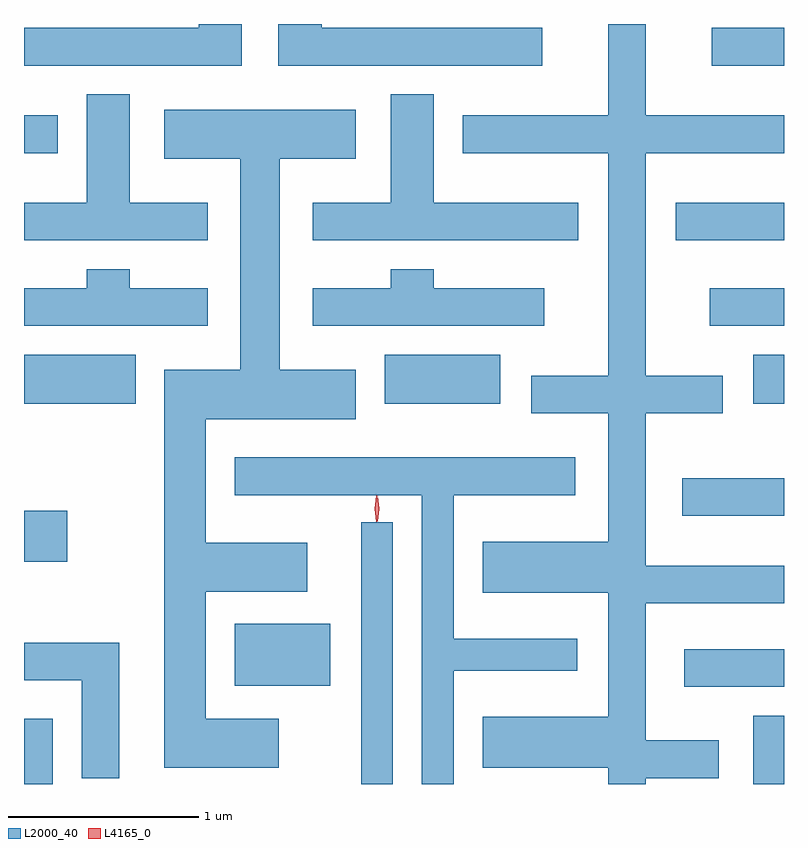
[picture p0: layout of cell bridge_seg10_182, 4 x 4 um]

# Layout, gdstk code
import gdstk
lib = gdstk.Library(unit=1e-6, precision=1e-09)
def R(c, l, rs):  # rectangles x0, y0, x1, y1
    for r in rs: c.add(gdstk.rectangle(r[:2], r[2:], *l))
def P(c, l, *ps):  # polygons
    for p in ps: c.add(gdstk.Polygon(p, *l))
L2000_40 = (2000, 40)
L4165_0 = (4165, 0)

bridge_seg10_182 = lib.new_cell('bridge_seg10_182')
R(bridge_seg10_182, L2000_40, [(1901.097,2140.795,1901.249,2141.139), (1902.871,2140.795,1903.039,2142.173), (1904.936,2140.795,1905.097,2141.154), (1904.571,2141.306,1905.097,2141.504), (1902.206,2141.311,1902.709,2141.639), (1901.097,2141.966,1901.324,2142.234), (1904.561,2142.206,1905.097,2142.404), (1901.097,2142.796,1901.684,2143.054), (1902.996,2142.796,1903.604,2143.054), (1904.936,2142.796,1905.097,2143.054), (1904.706,2143.206,1905.097,2143.404), (1904.526,2143.656,1905.097,2143.854), (1901.097,2144.116,1901.274,2144.314), (1904.716,2144.576,1905.097,2144.774)])
P(bridge_seg10_182, L2000_40, [(1904.369,2140.826),(1904.754,2140.826),(1904.754,2141.024),(1904.369,2141.024),(1904.369,2141.746),(1905.097,2141.746),(1905.097,2141.944),(1904.369,2141.944),(1904.369,2142.746),(1904.774,2142.746),(1904.774,2142.944),(1904.369,2142.944),(1904.369,2144.116),(1905.097,2144.116),(1905.097,2144.314),(1904.369,2144.314),(1904.369,2144.795),(1904.171,2144.795),(1904.171,2144.314),(1903.406,2144.314),(1903.406,2144.116),(1904.171,2144.116),(1904.171,2142.944),(1903.766,2142.944),(1903.766,2142.746),(1904.171,2142.746),(1904.171,2142.069),(1903.511,2142.069),(1903.511,2141.801),(1904.171,2141.801),(1904.171,2141.149),(1903.511,2141.149),(1903.511,2140.881),(1904.171,2140.881),(1904.171,2140.795),(1904.369,2140.795)],
  [(1902.244,2144.795),(1902.016,2144.795),(1902.016,2144.774),(1901.097,2144.774),(1901.097,2144.576),(1902.244,2144.576)],
  [(1903.824,2144.774),(1902.664,2144.774),(1902.664,2144.795),(1902.436,2144.795),(1902.436,2144.576),(1903.824,2144.576)],
  [(1902.064,2143.854),(1901.654,2143.854),(1901.654,2144.424),(1901.426,2144.424),(1901.426,2143.854),(1901.097,2143.854),(1901.097,2143.656),(1902.064,2143.656)],
  [(1904.014,2143.854),(1903.254,2143.854),(1903.254,2144.424),(1903.026,2144.424),(1903.026,2143.854),(1902.616,2143.854),(1902.616,2143.656),(1904.014,2143.656)],
  [(1902.439,2141.139),(1902.054,2141.139),(1902.054,2141.806),(1902.589,2141.806),(1902.589,2142.064),(1902.054,2142.064),(1902.054,2142.716),(1902.844,2142.716),(1902.844,2142.974),(1902.444,2142.974),(1902.444,2144.086),(1902.844,2144.086),(1902.844,2144.344),(1901.836,2144.344),(1901.836,2144.086),(1902.236,2144.086),(1902.236,2142.974),(1901.836,2142.974),(1901.836,2140.881),(1902.439,2140.881)],
  [(1903.834,2143.404),(1903.254,2143.404),(1903.254,2143.504),(1903.026,2143.504),(1903.026,2143.404),(1902.616,2143.404),(1902.616,2143.206),(1903.834,2143.206)],
  [(1902.064,2143.404),(1901.654,2143.404),(1901.654,2143.504),(1901.426,2143.504),(1901.426,2143.404),(1901.097,2143.404),(1901.097,2143.206),(1902.064,2143.206)],
  [(1903.359,2141.391),(1904.008,2141.391),(1904.008,2141.559),(1903.359,2141.559),(1903.359,2142.316),(1903.999,2142.316),(1903.999,2142.514),(1902.206,2142.514),(1902.206,2142.316),(1903.191,2142.316),(1903.191,2140.795),(1903.359,2140.795)],
  [(1901.599,2141.539),(1901.097,2141.539),(1901.097,2141.341),(1901.401,2141.341),(1901.401,2140.826),(1901.599,2140.826)])
P(bridge_seg10_182, L4165_0, [(1902.957,2142.178),(1902.948,2142.244),(1902.958,2142.31),(1902.958,2142.311),(1902.959,2142.31),(1902.968,2142.244),(1902.958,2142.178),(1902.958,2142.178)],
  [(1902.952,2142.174),(1902.952,2142.175),(1902.942,2142.244),(1902.952,2142.313),(1902.952,2142.314),(1902.953,2142.313),(1902.962,2142.244),(1902.953,2142.175)])

lib.write_gds('bridge_seg10_182.gds')
